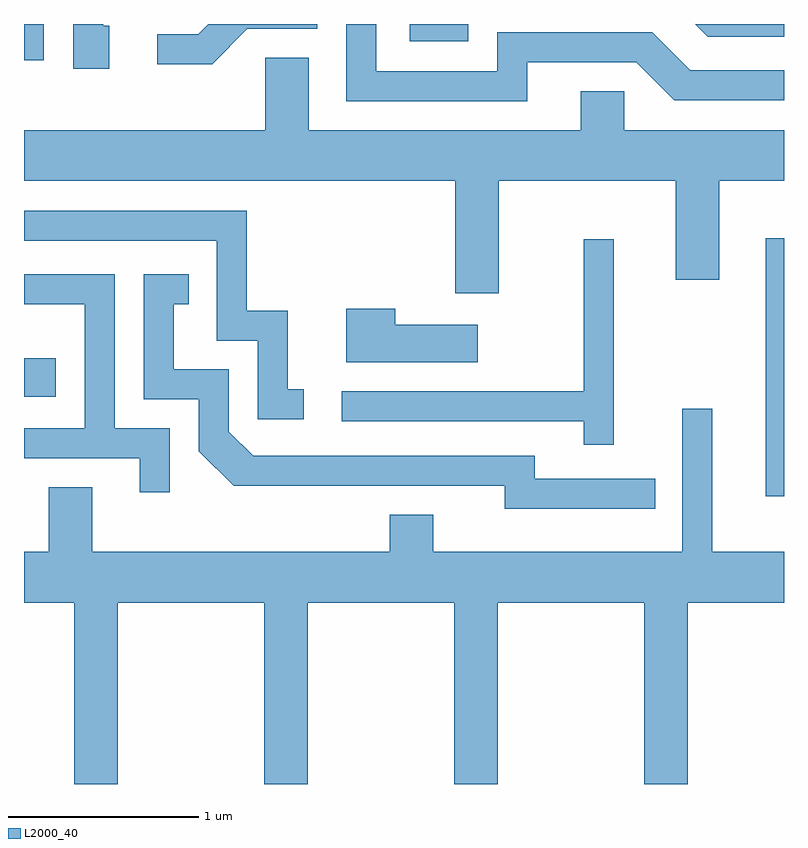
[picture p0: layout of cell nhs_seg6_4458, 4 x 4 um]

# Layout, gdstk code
import gdstk
lib = gdstk.Library(unit=1e-6, precision=1e-09)
def R(c, l, rs):  # rectangles x0, y0, x1, y1
    for r in rs: c.add(gdstk.rectangle(r[:2], r[2:], *l))
def P(c, l, *ps):  # polygons
    for p in ps: c.add(gdstk.Polygon(p, *l))
L2000_40 = (2000, 40)

nhs_seg6_4458 = lib.new_cell('nhs_seg6_4458')
R(nhs_seg6_4458, L2000_40, [(325.516,1581.676,325.611,1583.034), (321.611,1582.201,321.779,1582.404), (321.611,1583.971,321.714,1584.162), (323.641,1584.071,323.949,1584.162)])
P(nhs_seg6_4458, L2000_40, [(324.259,1583.961),(324.834,1583.961),(325.034,1583.761),(325.611,1583.761),(325.611,1583.919),(325.117,1583.919),(324.917,1584.119),(324.101,1584.119),(324.101,1583.914),(323.464,1583.914),(323.464,1584.162),(323.306,1584.162),(323.306,1583.756),(324.259,1583.756)],
  [(322.059,1584.154),(322.029,1584.154),(322.029,1584.162),(321.871,1584.162),(321.871,1583.926),(322.059,1583.926)],
  [(322.787,1584.136),(323.154,1584.136),(323.154,1584.162),(322.582,1584.162),(322.529,1584.109),(322.313,1584.109),(322.313,1583.951),(322.602,1583.951)],
  [(325.611,1584.162),(325.143,1584.162),(325.209,1584.096),(325.611,1584.096)],
  [(324.109,1583.336),(325.041,1583.336),(325.041,1582.816),(325.269,1582.816),(325.269,1583.336),(325.611,1583.336),(325.611,1583.604),(324.769,1583.604),(324.769,1583.809),(324.541,1583.809),(324.541,1583.604),(323.109,1583.604),(323.109,1583.984),(322.881,1583.984),(322.881,1583.604),(321.611,1583.604),(321.611,1583.336),(323.881,1583.336),(323.881,1582.746),(324.109,1582.746)],
  [(323.083,1582.239),(322.999,1582.239),(322.999,1582.654),(322.784,1582.654),(322.784,1583.179),(321.611,1583.179),(321.611,1583.021),(322.626,1583.021),(322.626,1582.496),(322.841,1582.496),(322.841,1582.081),(323.083,1582.081)],
  [(324.714,1583.028),(324.556,1583.028),(324.556,1582.229),(323.283,1582.229),(323.283,1582.071),(324.556,1582.071),(324.556,1581.948),(324.714,1581.948)],
  [(322.379,1582.034),(322.089,1582.034),(322.089,1582.844),(321.611,1582.844),(321.611,1582.686),(321.931,1582.686),(321.931,1582.034),(321.611,1582.034),(321.611,1581.876),(322.221,1581.876),(322.221,1581.698),(322.379,1581.698)],
  [(324.933,1581.769),(324.299,1581.769),(324.299,1581.889),(322.817,1581.889),(322.689,1582.017),(322.689,1582.344),(322.399,1582.344),(322.399,1582.686),(322.478,1582.686),(322.478,1582.844),(322.241,1582.844),(322.241,1582.186),(322.531,1582.186),(322.531,1581.914),(322.714,1581.731),(324.141,1581.731),(324.141,1581.611),(324.933,1581.611)],
  [(323.999,1582.579),(323.564,1582.579),(323.564,1582.664),(323.306,1582.664),(323.306,1582.381),(323.999,1582.381)],
  [(322.104,1581.116),(322.876,1581.116),(322.876,1580.162),(323.104,1580.162),(323.104,1581.116),(323.876,1581.116),(323.876,1580.162),(324.104,1580.162),(324.104,1581.116),(324.876,1581.116),(324.876,1580.162),(325.104,1580.162),(325.104,1581.116),(325.611,1581.116),(325.611,1581.384),(325.234,1581.384),(325.234,1582.138),(325.076,1582.138),(325.076,1581.384),(323.764,1581.384),(323.764,1581.579),(323.536,1581.579),(323.536,1581.384),(321.969,1581.384),(321.969,1581.724),(321.741,1581.724),(321.741,1581.384),(321.611,1581.384),(321.611,1581.116),(321.876,1581.116),(321.876,1580.162),(322.104,1580.162)])

lib.write_gds('nhs_seg6_4458.gds')
